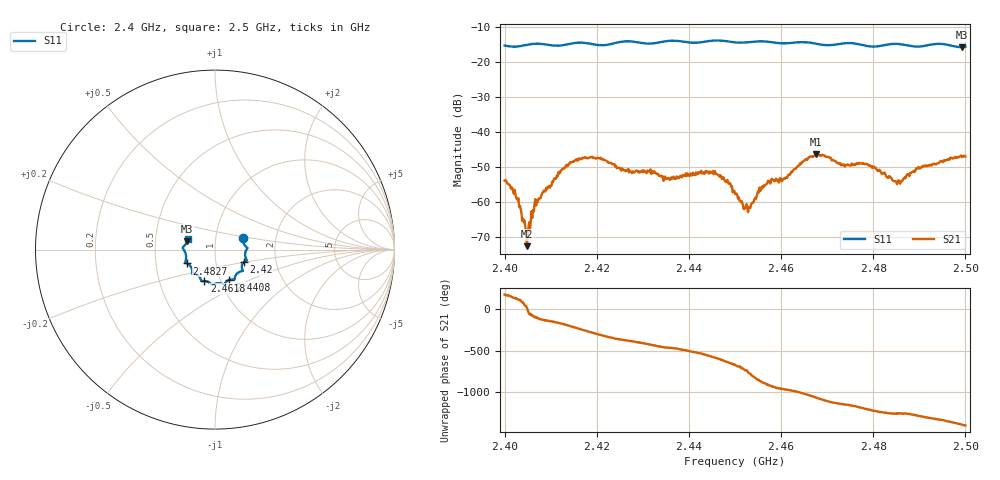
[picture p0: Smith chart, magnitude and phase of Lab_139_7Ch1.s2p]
# Hz S RI R 50
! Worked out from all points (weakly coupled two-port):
!   601 points, 2.4 GHz to 2.5 GHz, reference 50 ohm
!   highest |S21| = -46.33 dB at 2.4675 GHz (marker M1); lowest = -72.5 dB at 2.4048 GHz (marker M2)
!   lowest |S11| = -15.8 dB at 2.4992 GHz (marker M3), VSWR 1.39, Z = 36.5 + j3.65 ohm
!   |S11| at or under -10 dB: start of sweep to end of sweep
!   S12 and S22 are empty: the file has one direction only
!   S11 on the Smith chart (normalised r, x): 2.4 GHz: 1.36, +0.18; 2.42 GHz: 1.36, -0.20; 2.4408 GHz: 1.10, -0.39; 2.4618 GHz: 0.84, -0.30; 2.4827 GHz: 0.72, -0.11; 2.5 GHz: 0.73, +0.09
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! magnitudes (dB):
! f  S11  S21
! 2.4 GHz  -15.4  -53.8
! 2.4025 GHz  -15.7  -58.6
! 2.4048 GHz  -15.2  -72.5
! 2.4067 GHz  -14.9  -59.1
! 2.4085 GHz  -15.0  -56.7
! 2.4167 GHz  -14.5  -47.7
! 2.42 GHz  -15.2  -47.5
! 2.4333 GHz  -14.5  -51.9
! 2.4408 GHz  -14.6  -51.6
! 2.4457 GHz  -13.9  -51.1
! 2.45 GHz  -14.5  -57.6
! 2.4532 GHz  -14.4  -61.3
! 2.4568 GHz  -14.2  -54.8
! 2.4618 GHz  -14.7  -52.2
! 2.4667 GHz  -14.6  -46.9
! 2.4675 GHz  -14.8  -46.3
! 2.4827 GHz  -15.2  -52.2
! 2.4833 GHz  -15.0  -52.6
! 2.4857 GHz  -14.9  -54.2
! 2.4898 GHz  -15.7  -49.9
! 2.4992 GHz  -15.8  -46.8
! 2.5 GHz  -15.7  -47.0
